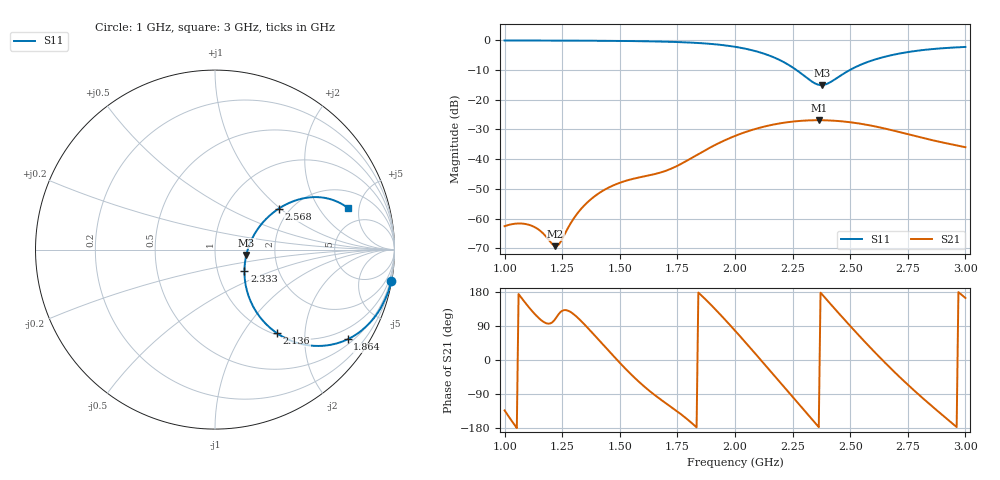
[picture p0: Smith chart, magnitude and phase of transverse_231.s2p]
! TOUCHSTONE file generated by CST MICROWAVE STUDIO
! Date and time: Tue Mar 11 13:57:55 2025
! Project name: transverse.cst
! Parameters = {Fracture=1; B=10; D=160; F=15; Feed=2.85625; L=100; M=10; R=0.384908; S=2; Theta=270; length=57.125; wave=114.25}
! Header version: 2024
! Port assignment regex: !\s*Touchstone port\s*([0-9]+)\s*=\s*(CST MWS port|CST DES external port|CST DES block port)\s*(.+)\s* \(\"(.*)\"\)(\s*mode\s*([0-9]+))?.*
! Touchstone port assignment:
! Touchstone port 1 = CST MWS port 1 ("")
! Touchstone port 2 = CST MWS port 2 ("")
# GHz S MA R 50
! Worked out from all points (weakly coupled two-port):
!   265 points, 1 GHz to 3 GHz, reference 50 ohm
!   highest |S21| = -26.88 dB at 2.364 GHz (marker M1); lowest = -69.3 dB at 1.22 GHz (marker M2)
!   lowest |S11| = -15.0 dB at 2.379 GHz (marker M3), VSWR 1.43, Z = 71 - j4.29 ohm
!   |S11| at or under -10 dB: 2.267 GHz to 2.498 GHz (230.5 MHz wide, 9.67 % of centre)
!   S12 and S22 are empty: the file has one direction only
!   S11 on the Smith chart (normalised r, x): 1 GHz: 0, -11; 1.864 GHz: 0.64, -3.14; 2.136 GHz: 1.03, -1.44; 2.333 GHz: 1.34, -0.34; 2.568 GHz: 1.76, +0.98; 3 GHz: 3.27, +3.83
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1  0.9977 -10.0  0.0007448 -133.0  0 0.0  0 0.0
1.06061  0.9968 -10.8  0.0008271 174.1  0 0.0  0 0.0
1.11364  0.996 -11.6  0.0007671 133.1  0 0.0  0 0.0
1.15909  0.9953 -12.3  0.0006013 104.9  0 0.0  0 0.0
1.2197  0.994 -13.3  0.000343 108.1  0 0.0  0 0.0
1.24242  0.9933 -13.7  0.0004017 126.4  0 0.0  0 0.0
1.29545  0.9913 -14.7  0.0009437 122.9  0 0.0  0 0.0
1.34091  0.9891 -15.6  0.001591 97.5  0 0.0  0 0.0
1.40152  0.986 -16.9  0.002546 57.7  0 0.0  0 0.0
1.4697  0.9818 -18.5  0.003591 12.2  0 0.0  0 0.0
1.66667  0.9578 -24.6  0.005811 -99.4  0 0.0  0 0.0
1.86364  0.8921 -34.1  0.01365 164.9  0 0.0  0 0.0
2  0.7803 -43.5  0.02464 77.6  0 0.0  0 0.0
2.13636  0.5788 -53.5  0.03611 -17.1  0 0.0  0 0.0
2.22727  0.3985 -56.4  0.04188 -81.3  0 0.0  0 0.0
2.33333  0.2032 -36.2  0.04516 -155.9  0 0.0  0 0.0
2.34091  0.1947 -32.5  0.04523 -161.2  0 0.0  0 0.0
2.36364  0.1787 -19.2  0.04531 -177.1  0 0.0  0 0.0
2.37879  0.1768 -9.5  0.04525 172.4  0 0.0  0 0.0
2.56818  0.4224 32.7  0.03816 45.0  0 0.0  0 0.0
2.66667  0.5497 30.7  0.03172 -16.5  0 0.0  0 0.0
3  0.7763 17.4  0.01591 163.7  0 0.0  0 0.0
